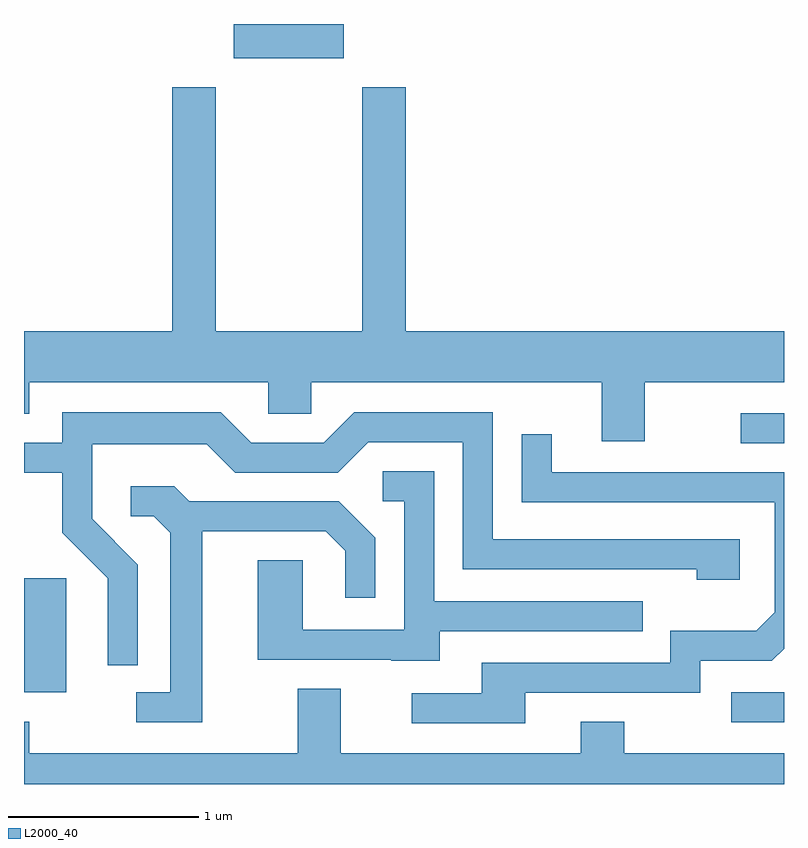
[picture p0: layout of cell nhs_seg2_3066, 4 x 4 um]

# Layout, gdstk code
import gdstk
lib = gdstk.Library(unit=1e-6, precision=1e-09)
def R(c, l, rs):  # rectangles x0, y0, x1, y1
    for r in rs: c.add(gdstk.rectangle(r[:2], r[2:], *l))
def P(c, l, *ps):  # polygons
    for p in ps: c.add(gdstk.Polygon(p, *l))
L2000_40 = (2000, 40)

nhs_seg2_3066 = lib.new_cell('nhs_seg2_3066')
R(nhs_seg2_3066, L2000_40, [(279.333,1002.126,279.611,1002.284), (275.611,1002.286,275.834,1002.884), (279.383,1003.596,279.611,1003.754), (276.716,1005.621,277.294,1005.802)])
P(nhs_seg2_3066, L2000_40, [(278.879,1003.916),(279.611,1003.916),(279.611,1004.184),(277.619,1004.184),(277.619,1005.469),(277.391,1005.469),(277.391,1004.184),(276.619,1004.184),(276.619,1005.469),(276.391,1005.469),(276.391,1004.184),(275.611,1004.184),(275.611,1003.751),(275.639,1003.751),(275.639,1003.916),(276.896,1003.916),(276.896,1003.751),(277.124,1003.751),(277.124,1003.916),(278.651,1003.916),(278.651,1003.606),(278.879,1003.606)],
  [(276.209,1002.957),(275.969,1003.197),(275.969,1003.591),(276.574,1003.591),(276.724,1003.441),(277.262,1003.441),(277.422,1003.601),(277.921,1003.601),(277.921,1002.931),(279.151,1002.931),(279.151,1002.876),(279.379,1002.876),(279.379,1003.089),(278.079,1003.089),(278.079,1003.759),(277.349,1003.759),(277.189,1003.599),(276.807,1003.599),(276.647,1003.759),(275.811,1003.759),(275.811,1003.599),(275.611,1003.599),(275.611,1003.441),(275.811,1003.441),(275.811,1003.124),(276.051,1002.884),(276.051,1002.428),(276.209,1002.428)],
  [(278.249,1002.281),(279.169,1002.281),(279.169,1002.451),(279.547,1002.451),(279.611,1002.515),(279.611,1003.444),(278.389,1003.444),(278.389,1003.643),(278.231,1003.643),(278.231,1003.286),(279.561,1003.286),(279.561,1002.707),(279.464,1002.609),(279.011,1002.609),(279.011,1002.439),(278.021,1002.439),(278.021,1002.279),(277.653,1002.279),(277.653,1002.121),(278.249,1002.121)],
  [(277.799,1002.606),(278.868,1002.606),(278.868,1002.764),(277.769,1002.764),(277.769,1003.449),(277.498,1003.449),(277.498,1003.291),(277.611,1003.291),(277.611,1002.614),(277.079,1002.614),(277.079,1002.979),(276.841,1002.979),(276.841,1002.456),(277.545,1002.456),(277.545,1002.451),(277.799,1002.451)],
  [(276.549,1003.131),(277.199,1003.131),(277.301,1003.029),(277.301,1002.783),(277.459,1002.783),(277.459,1003.097),(277.267,1003.289),(276.482,1003.289),(276.402,1003.369),(276.173,1003.369),(276.173,1003.211),(276.294,1003.211),(276.381,1003.124),(276.381,1002.284),(276.203,1002.284),(276.203,1002.126),(276.549,1002.126)],
  [(279.611,1001.964),(278.769,1001.964),(278.769,1002.129),(278.541,1002.129),(278.541,1001.964),(277.279,1001.964),(277.279,1002.304),(277.051,1002.304),(277.051,1001.964),(275.639,1001.964),(275.639,1002.129),(275.611,1002.129),(275.611,1001.802),(279.611,1001.802)])

lib.write_gds('nhs_seg2_3066.gds')
